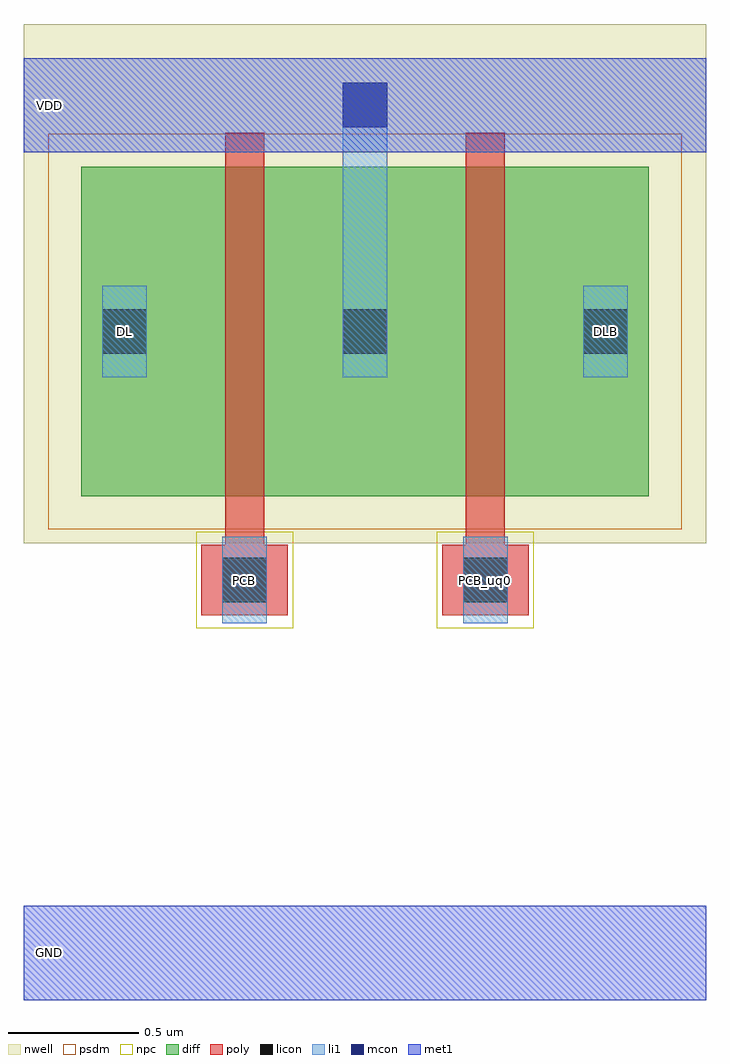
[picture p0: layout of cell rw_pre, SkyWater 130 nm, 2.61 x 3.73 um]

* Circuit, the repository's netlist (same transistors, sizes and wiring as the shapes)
* NGSPICE file created from rw_pre.ext - technology: sky130A

.subckt rw_pre PCB DL DLB VDD GND PCB_uq0
X0 DLB PCB_uq0 VDD w_0_313# sky130_fd_pr__pfet_01v8 ad=0.693 pd=3.62 as=0.4851 ps=2.03 w=1.26 l=0.15
X1 VDD PCB DL w_0_313# sky130_fd_pr__pfet_01v8 ad=0.4851 pd=2.03 as=0.693 ps=3.62 w=1.26 l=0.15
.ends

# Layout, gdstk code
import gdstk
lib = gdstk.Library(unit=1e-6, precision=1e-09)
def R(c, l, rs):  # rectangles x0, y0, x1, y1
    for r in rs: c.add(gdstk.rectangle(r[:2], r[2:], *l))
def A(c, l, x, y, w, h, nx, ny, dx, dy):  # array of equal rectangles
    R(c, l, [(x+i*dx, y+j*dy, x+i*dx+w, y+j*dy+h) for i in range(nx) for j in range(ny)])
nwell = (64, 20)
diff = (65, 20)
poly = (66, 20)
licon = (66, 44)
li1 = (67, 20)
mcon = (67, 44)
met1 = (68, 20)
psdm = (94, 20)
npc = (95, 20)

rw_pre = lib.new_cell('rw_pre')
R(rw_pre, nwell, [(0,1.565,2.61,3.55)])
R(rw_pre, diff, [(0.22,1.745,2.39,3.005)])
R(rw_pre, poly, [(0.68,1.29,1.01,1.56), (1.6,1.29,1.93,1.56), (0.77,1.56,0.92,3.135), (1.69,1.56,1.84,3.135)])
A(rw_pre, licon, 0.3, 2.29, 0.17, 0.17, 3, 1, 0.92, 0)
R(rw_pre, licon, [(0.76,1.34,0.93,1.51), (1.68,1.34,1.85,1.51)])
R(rw_pre, li1, [(0.76,1.26,0.93,1.59), (1.68,1.26,1.85,1.59), (0.3,2.2,0.47,2.55), (1.22,2.2,1.39,3.325), (2.14,2.2,2.31,2.55)])
R(rw_pre, mcon, [(1.22,3.155,1.39,3.325)])
R(rw_pre, met1, [(0,-0.18,2.61,0.18), (0,3.06,2.61,3.42)])
R(rw_pre, psdm, [(0.095,1.62,2.515,3.13)])
R(rw_pre, npc, [(0.66,1.24,1.03,1.61), (1.58,1.24,1.95,1.61)])
rw_pre.add(gdstk.Label('PCB', (0.845,1.425), layer=67, texttype=5))
rw_pre.add(gdstk.Label('DL', (0.385,2.375), layer=67, texttype=5))
rw_pre.add(gdstk.Label('DLB', (2.225,2.375), layer=67, texttype=5))
rw_pre.add(gdstk.Label('VDD', (0.1,3.24), layer=68, texttype=5))
rw_pre.add(gdstk.Label('GND', (0.1,0), layer=68, texttype=5))
rw_pre.add(gdstk.Label('PCB_uq0', (1.765,1.425), layer=67, texttype=5))

lib.write_gds('rw_pre.gds')
